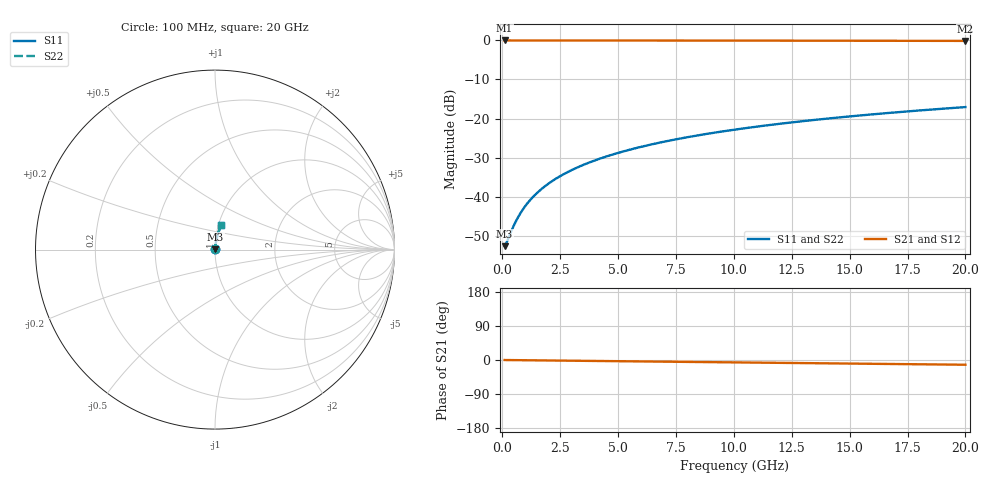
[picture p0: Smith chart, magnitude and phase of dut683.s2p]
! Touchstone file exported from HFSS 2026.1.0
!  File:  C:/ffzhzh/LocalFiles/Ansys_Project_Files/temp_train_TSV_683_1783027425_51716.aedt
!  Generated:  05:26:53 AM Jul  3, 2026
!  Design:  TSV
!  Project:  temp_train_TSV_683_1783027425_51716
! Variables:
!  h_bsmrdl = 2um
!  h_ox = 20um
!  h_rdl = 5um
!  h_sub = 97.56um
!  h_tmrdl = 5um
!  h_tsv = 97.56um
!  h_via = 3um
!  l_bsmrdl = 300um
!  l_sub = 404.48um
!  l_tmrdl = 200um
!  m_sub = 200um
!  pitch = 36.92um
!  r_tsv = 2.24um
!  s_tmrdl = 10um
!  w_bsmrdl = 18um
!  w_sub = 500um
!  w_tmrdl = 12um
!  x_tsv_center1 = 206um
!  x_tsv_center2 = 524um
!  x_tsv_center3 = 736um
!  x_tsv_center4 = 1054um
!  x_tsv_center5 = 1266um
!  x_tsv_center6 = 1584um
# GHz S MA R 50.000000
! Terminal data exported
! Port[1] = TSV1_1_T1
! Port[2] = TSV1_1_T2
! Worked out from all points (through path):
!   200 points, 100 MHz to 20 GHz, reference 50 ohm
!   highest |S21| = -0.02 dB at 100 MHz (marker M1); lowest = -0.1 dB at 20 GHz (marker M2)
!   group delay of S21, straight-line fit = 1.74 ps
!   lowest |S11| = -52.6 dB at 100 MHz (marker M3), VSWR 1.00, Z = 50.2 + j0.0738 ohm
!   |S11| at or under -10 dB: start of sweep to end of sweep
!   |S22| runs from -52.6 to -17.1 dB; largest |S21 - S12| = 4.5e-15
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0.1  0.002338 18.3  0.9978 -0.1  0.9978 -0.1  0.002338 18.3
! Gamma 0 0 0 0
! Port Impedance 50 0 50 0
0.2  0.002666 33.4  0.9978 -0.1  0.9978 -0.1  0.002666 33.4
0.5  0.004304 58.3  0.9978 -0.3  0.9978 -0.3  0.004304 58.3
0.7  0.005608 65.8  0.9977 -0.4  0.9977 -0.4  0.005608 65.8
0.8  0.006284 68.4  0.9977 -0.5  0.9977 -0.5  0.006284 68.4
1  0.007664 72.1  0.9977 -0.6  0.9977 -0.6  0.007664 72.1
1.3  0.009774 75.6  0.9977 -0.8  0.9977 -0.8  0.009774 75.6
1.5  0.0112 77.2  0.9976 -1.0  0.9976 -1.0  0.0112 77.2
1.7  0.01262 78.3  0.9976 -1.1  0.9976 -1.1  0.01262 78.3
2.2  0.01621 80.3  0.9975 -1.4  0.9975 -1.4  0.01621 80.3
2.8  0.02054 81.5  0.9974 -1.8  0.9974 -1.8  0.02054 81.5
3.5  0.02559 82.3  0.9972 -2.2  0.9972 -2.2  0.02559 82.3
4.2  0.03064 82.6  0.997 -2.7  0.997 -2.7  0.03064 82.6
5  0.03641 82.7  0.9967 -3.2  0.9967 -3.2  0.03641 82.7
5.9  0.04287 82.5  0.9963 -3.8  0.9963 -3.8  0.04287 82.5
6.8  0.04931 82.3  0.9959 -4.3  0.9959 -4.3  0.04931 82.3
8.3  0.05999 81.7  0.995 -5.3  0.995 -5.3  0.05999 81.7
10.1  0.07269 80.9  0.9939 -6.4  0.9939 -6.4  0.07269 80.9
11.7  0.08387 80.0  0.9927 -7.4  0.9927 -7.4  0.08387 80.0
13.4  0.09564 79.1  0.9913 -8.5  0.9913 -8.5  0.09564 79.1
16.7  0.1182 77.3  0.9883 -10.5  0.9883 -10.5  0.1182 77.3
20  0.1403 75.4  0.985 -12.5  0.985 -12.5  0.1403 75.4
